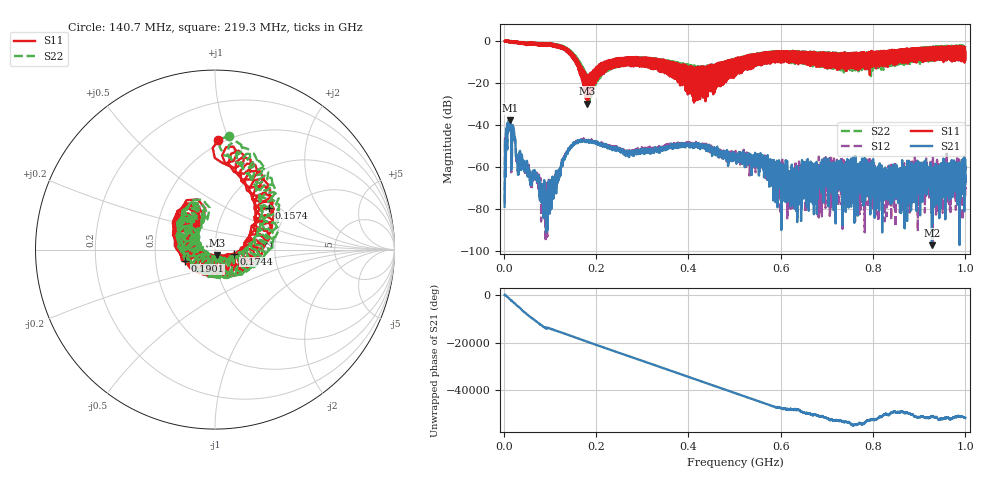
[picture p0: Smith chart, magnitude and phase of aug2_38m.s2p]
!Keysight Technologies N9923A: A.12.45
!Date: Saturday, 02 August 2025 19:30:25
!Timezone: (UTC+08:00) Kuala Lumpur, Singapore
!Model: N9923A
!Serial: MY61181427
!GPS Latitude:
!GPS Longitude:
!GPS TimeStamp: 0001-01-01 00:00:00Z
!GPS Seconds Since Last Read: 0
!CHECKSUM:1410720757
!Correction: S11(ON U)S21(ON U)S12(ON U)S22(ON U)
!S2P File: Measurements:S11,S21,S12,S22:
# Hz S DB R 50
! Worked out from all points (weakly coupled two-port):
!   4001 points, 2 MHz to 1 GHz, reference 50 ohm
!   highest |S21| = -37.77 dB at 13.73 MHz (marker M1); lowest = -97.3 dB at 927.4 MHz (marker M2)
!   lowest |S11| = -29.9 dB at 181.1 MHz (marker M3), VSWR 1.07, Z = 51 - j3.1 ohm
!   |S11| at or under -10 dB: 160.8 MHz to 218.6 MHz (57.73 MHz wide, 30.4 % of centre); 218.6 MHz to 221.8 MHz (3.216 MHz wide, 1.46 % of centre); 357.8 MHz to 479.7 MHz (121.9 MHz wide, 29.1 % of centre) (the widest 3 of 308)
!   |S22| runs from -29.0 to 0.1 dB; largest |S21 - S12| = 0.0023
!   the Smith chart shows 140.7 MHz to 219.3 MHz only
!   S11 on the Smith chart (normalised r, x): 140.7 MHz: 0.47, +0.91; 157.4 MHz: 1.57, +0.85; 174.4 MHz: 1.24, -0.06; 190.1 MHz: 0.71, -0.09; 219.3 MHz: 0.78, +0.24
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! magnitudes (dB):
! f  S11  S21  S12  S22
! 2 MHz  -0.1  -79.0  -77.0  -0.1
! 7.739 MHz  -0.5  -42.5  -42.5  -0.4
! 13.73 MHz  -0.3  -37.8  -38.2  -0.4
! 30.44 MHz  -0.7  -61.3  -61.7  -0.7
! 71.36 MHz  -1.9  -65.1  -64.4  -1.9
! 89.82 MHz  -2.3  -76.6  -71.8  -2.2
! 140.7 MHz  -4.3  -52.2  -51.7  -3.9
! 157.4 MHz  -8.4  -48.6  -48.6  -7.6
! 168.4 MHz  -15.0  -48.1  -47.4  -15.6
! 174.4 MHz  -19.3  -47.1  -47.4  -15.3
! 181.1 MHz  -29.9  -47.4  -47.5  -20.3
! 190.1 MHz  -15.0  -47.9  -47.5  -16.8
! 219.3 MHz  -14.8  -49.1  -49.6  -13.2
! 334.8 MHz  -12.2  -51.8  -52.4  -9.3
! 417.2 MHz  -26.8  -48.8  -48.9  -15.5
! 501 MHz  -11.6  -55.0  -54.1  -14.1
! 619.3 MHz  -6.6  -76.3  -69.6  -5.6
! 667.4 MHz  -6.0  -61.9  -68.2  -11.2
! 833.8 MHz  -5.7  -73.8  -59.4  -8.7
! 927.4 MHz  -9.1  -97.3  -80.1  -3.4
! 987.3 MHz  -3.4  -65.8  -60.0  -9.0
! 1 GHz  -5.6  -56.8  -70.7  -2.9
